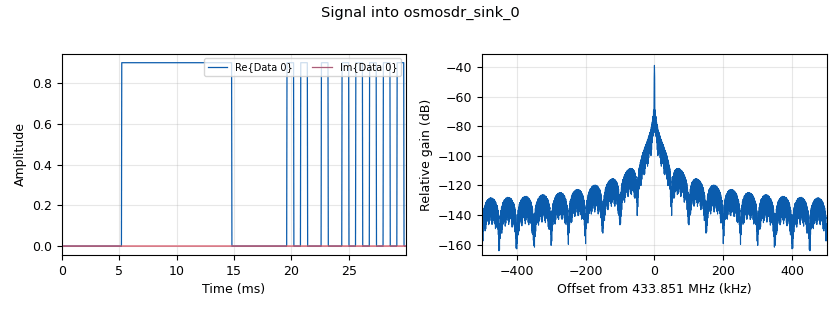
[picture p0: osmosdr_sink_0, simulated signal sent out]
<?xml version='1.0' encoding='utf-8'?>
<?grc format='1' created='3.7.8'?>
<flow_graph>
<block>
<key>options</key>
<param><key>id</key><value>ceiling_fan_tx</value></param>
<param><key>category</key><value>Custom</value></param>
<param><key>generate_options</key><value>wx_gui</value></param>
</block>
<block>
<key>variable</key>
<param><key>id</key><value>center_freq</value></param>
<param><key>value</key><value>433851500</value></param>
</block>
<block>
<key>variable_slider</key>
<param><key>id</key><value>gain</value></param>
<param><key>converver</key><value>float_converter</value></param>
<param><key>value</key><value>15</value></param>
<param><key>label</key><value></value></param>
<param><key>max</key><value>25</value></param>
<param><key>min</key><value>0</value></param>
<param><key>num_steps</key><value>50</value></param>
<param><key>style</key><value>wx.SL_HORIZONTAL</value></param>
</block>
<block>
<key>variable</key>
<param><key>id</key><value>interp</value></param>
<param><key>value</key><value>600</value></param>
</block>
<block>
<key>variable_slider</key>
<param><key>id</key><value>samp_rate</value></param>
<param><key>converver</key><value>float_converter</value></param>
<param><key>value</key><value>1e6</value></param>
<param><key>label</key><value></value></param>
<param><key>max</key><value>3e6</value></param>
<param><key>min</key><value>1e6</value></param>
<param><key>num_steps</key><value>1000</value></param>
<param><key>style</key><value>wx.SL_HORIZONTAL</value></param>
</block>
<block>
<key>variable_chooser</key>
<param><key>id</key><value>x10</value></param>
<param><key>choices</key><value>[x10_4on,x10_4off]</value></param>
<param><key>value</key><value>x10_4off</value></param>
<param><key>label</key><value></value></param>
<param><key>labels</key><value>['4 on', '4 off']</value></param>
<param><key>style</key><value>wx.RA_HORIZONTAL</value></param>
<param><key>type</key><value>radio_buttons</value></param>
</block>
<block>
<key>variable</key>
<param><key>id</key><value>x10_4off</value></param>
<param><key>value</key><value>[0,0,0,0,1,1,1,1,1,1,1,1,1,1,1,1,1,1,1,1,0,0,0,0,0,0,0,0,1,0,1,0,0,1,0,0,1,0,1,0,1,0,1,0,1,0,1,0,0,1,0,1,0,1,0,0,1,0,0,1,0,0,1,0,0,1,0,0,1,0,1,0,1,0,0,1,0,0,1,0,0,1,0,1,0,1,0,1,0,0,1,0,0,1,0,1,0,1,0,1,0,0,1,0,0,1,0,0,1,0,0,0,0,0,0,0,0,0,0,0,0,0,0,0,0,0,0,0,0,0,0,0,0,0,0,0,0,0,0,0,0,0,0,0]*10 + [0]*3321</value></param>
</block>
<block>
<key>variable</key>
<param><key>id</key><value>x10_4on</value></param>
<param><key>value</key><value>[0,0,0,0,1,1,1,1,1,1,1,1,1,1,1,1,1,1,1,1,0,0,0,0,0,0,0,0,1,0,1,0,0,1,0,0,1,0,1,0,1,0,1,0,1,0,1,0,0,1,0,1,0,1,0,0,1,0,0,1,0,0,1,0,0,1,0,0,1,0,1,0,1,0,1,0,0,1,0,0,1,0,1,0,1,0,1,0,0,1,0,0,1,0,0,1,0,1,0,1,0,0,1,0,0,1,0,0,1,0,0,0,0,0,0,0,0,0,0,0,0,0,0,0,0,0,0,0,0,0,0,0,0,0,0,0,0,0,0,0,0,0,0,0]*10 + [0]*3321</value></param>
</block>
<block>
<key>blocks_moving_average_xx</key>
<param><key>id</key><value>blocks_moving_average_xx_0</value></param>
<param><key>length</key><value>20</value></param>
<param><key>max_iter</key><value>4000</value></param>
<param><key>scale</key><value>0.9/20</value></param>
<param><key>type</key><value>complex</value></param>
</block>
<block>
<key>blocks_repeat</key>
<param><key>id</key><value>blocks_repeat_0</value></param>
<param><key>interp</key><value>interp</value></param>
<param><key>type</key><value>complex</value></param>
</block>
<block>
<key>blocks_vector_source_x</key>
<param><key>id</key><value>blocks_vector_source_x_0_0_0_0_0</value></param>
<param><key>type</key><value>complex</value></param>
<param><key>repeat</key><value>True</value></param>
<param><key>vector</key><value>x10</value></param>
</block>
<block>
<key>osmosdr_sink</key>
<param><key>id</key><value>osmosdr_sink_0</value></param>
<param><key>bb_gain0</key><value>20</value></param>
<param><key>bw0</key><value>2000000</value></param>
<param><key>freq0</key><value>center_freq</value></param>
<param><key>if_gain0</key><value>20</value></param>
<param><key>gain0</key><value>gain</value></param>
<param><key>args</key><value></value></param>
<param><key>type</key><value>fc32</value></param>
<param><key>sample_rate</key><value>samp_rate</value></param>
<param><key>sync</key><value></value></param>
</block>
<connection><source_block_id>blocks_moving_average_xx_0</source_block_id><sink_block_id>osmosdr_sink_0</sink_block_id><source_key>0</source_key><sink_key>0</sink_key></connection>
<connection><source_block_id>blocks_repeat_0</source_block_id><sink_block_id>blocks_moving_average_xx_0</sink_block_id><source_key>0</source_key><sink_key>0</sink_key></connection>
<connection><source_block_id>blocks_vector_source_x_0_0_0_0_0</source_block_id><sink_block_id>blocks_repeat_0</sink_block_id><source_key>0</source_key><sink_key>0</sink_key></connection>
</flow_graph>
